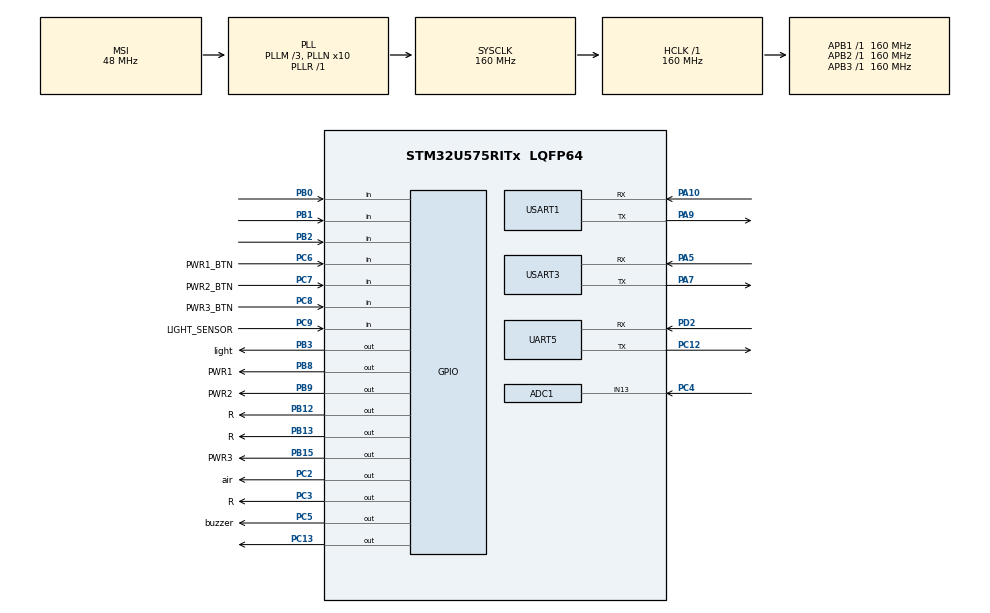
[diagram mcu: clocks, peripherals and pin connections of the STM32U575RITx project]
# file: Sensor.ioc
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ADC1.Channel-0\#ChannelRegularConversion=ADC_CHANNEL_13
ADC1.ContinuousConvMode=DISABLE
ADC1.EnableRegularConversion=ENABLE
ADC1.MonitoredBy-0\#ChannelRegularConversion=__NULL
ADC1.NbrOfConversion=1
ADC1.NbrOfConversionFlag=1
ADC1.OffsetNumber-0\#ChannelRegularConversion=ADC_OFFSET_NONE
ADC1.Rank-0\#ChannelRegularConversion=1
ADC1.SamplingTime-0\#ChannelRegularConversion=ADC_SAMPLETIME_391CYCLES_5
ADC1.master=1
CORTEX_M33_NS.userName=CORTEX_M33
Mcu.Family=STM32U5
Mcu.Name=STM32U575RITx
Mcu.Package=LQFP64
NVIC.PriorityGroup=NVIC_PRIORITYGROUP_4
NVIC.UART5_IRQn=true\:3\:0\:false\:false\:true\:true\:true\:true
NVIC.USART1_IRQn=true\:2\:0\:false\:false\:true\:true\:true\:true
NVIC.USART3_IRQn=true\:1\:0\:false\:false\:true\:true\:true\:true
PA10.Mode=Asynchronous
PA10.Signal=USART1_RX
PA5.Mode=Asynchronous
PA5.Signal=USART3_RX
PA7.Mode=Asynchronous
PA7.Signal=USART3_TX
PA9.Mode=Asynchronous
PA9.Signal=USART1_TX
PB0.Signal=GPIO_Input
PB1.GPIO_PuPd=GPIO_PULLUP
PB1.Signal=GPIO_Input
PB8.GPIO_Label=PWR1
PB8.PinState=GPIO_PIN_RESET
PB8.Signal=GPIO_Output
PB12.GPIO_Label=R
PB12.PinState=GPIO_PIN_RESET
PB12.Signal=GPIO_Output
PB13.GPIO_Label=R
PB13.PinState=GPIO_PIN_RESET
PB13.Signal=GPIO_Output
PB9.GPIO_Label=PWR2
PB9.PinState=GPIO_PIN_RESET
PB9.Signal=GPIO_Output
PB15.GPIO_Label=PWR3
PB15.PinState=GPIO_PIN_RESET
PB15.Signal=GPIO_Output
PB2.GPIO_PuPd=GPIO_PULLUP
PB2.Signal=GPIO_Input
PB3\ (JTDO/TRACESWO).GPIO_Label=light
PB3\ (JTDO/TRACESWO).PinState=GPIO_PIN_RESET
PB3\ (JTDO/TRACESWO).Signal=GPIO_Output
PC12.Mode=Asynchronous
PC12.Signal=UART5_TX
PC4.Mode=IN13-Single-Ended
PC4.Signal=ADC1_IN13
PC13.Signal=GPIO_Output
PC2.GPIO_Label=air
PC2.PinState=GPIO_PIN_RESET
PC2.Signal=GPIO_Output
PC3.GPIO_Label=R
PC3.PinState=GPIO_PIN_RESET
PC3.Signal=GPIO_Output
PC5.GPIO_Label=buzzer
PC5.PinState=GPIO_PIN_SET
PC5.Signal=GPIO_Output
PC9.GPIO_Label=LIGHT_SENSOR
PC9.GPIO_PuPd=GPIO_NOPULL
PC9.Signal=GPIO_Input
PC6.GPIO_Label=PWR1_BTN
PC6.GPIO_PuPd=GPIO_PULLUP
PC6.Signal=GPIO_Input
PC7.GPIO_Label=PWR2_BTN
PC7.GPIO_PuPd=GPIO_PULLUP
PC7.Signal=GPIO_Input
PC8.GPIO_Label=PWR3_BTN
PC8.GPIO_PuPd=GPIO_PULLUP
PC8.Signal=GPIO_Input
PD2.Mode=Asynchronous
PD2.Signal=UART5_RX
ProjectManager.HeapSize=0x200
ProjectManager.StackSize=0x400
ProjectManager.TargetToolchain=MDK-ARM V5.32
RCC.ADCFreq_Value=16000000
RCC.AHBFreq_Value=160000000
RCC.APB1Freq_Value=160000000
RCC.APB1TimFreq_Value=160000000
RCC.APB2Freq_Value=160000000
RCC.APB2TimFreq_Value=160000000
RCC.APB3Freq_Value=160000000
RCC.CortexFreq_Value=160000000
RCC.EPOD_VALUE=48000000
RCC.HCLKFreq_Value=160000000
RCC.HSE_VALUE=16000000
RCC.HSI48_VALUE=48000000
RCC.HSI_VALUE=16000000
RCC.LSE_VALUE=32768
RCC.LSIDIV_VALUE=32000
RCC.MSIClockRange=RCC_MSIRANGE_0
RCC.MSI_VALUE=48000000
RCC.PLL1R=1
RCC.PLLFRACN=0
RCC.PLLM=3
RCC.PLLN=10
RCC.SYSCLKFreq_VALUE=160000000
RCC.SYSCLKSource=RCC_SYSCLKSOURCE_PLLCLK
RCC.USBFreq_Value=48000000
RCC.VCOOutputFreq_Value=160000000
TIM2.PeriodNoDither=65535
TIM2.Prescaler=159
USART1.VirtualMode-Asynchronous=VM_ASYNC
USART3.VirtualMode-Asynchronous=VM_ASYNC
VP_LPBAMQUEUE_VS_QUEUE.Mode=QUEUEMODE
VP_LPBAM_VS_SIG1.Mode=SmartRun
VP_LPBAM_VS_SIG4.Mode=LPDMA1
VP_MEMORYMAP_VS_MEMORYMAP.Mode=CurAppReg
VP_PWR_VS_SECSignals.Mode=Security/Privilege
VP_PWR_Vdda.Mode=isolationVdda
VP_TIM2_VS_ClockSourceINT.Mode=Internal
board=custom

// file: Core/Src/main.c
/* USER CODE BEGIN Header */
/**
  ******************************************************************************
  * @file           : main.c
  * @brief          : Main program body
  ******************************************************************************
  * @attention
  *
  * Copyright (c) 2026 STMicroelectronics.
  * All rights reserved.
  *
  * This software is licensed under terms that can be found in the LICENSE file
  * in the root directory of this software component.
  * If no LICENSE file comes with this software, it is provided AS-IS.
  ******************************************************************************
  */
/* USER CODE END Header */
#include "main.h"
#include "adc.h"
#include "memorymap.h"
#include "tim.h"
#include "usart.h"
#include "gpio.h"

/* USER CODE BEGIN Includes */
#include "stdio.h"
#include "dht22.h"
#include "acs712.h"
#include "mq2.h"
#include "door.h"
#include "alarm.h"
#include "app_config.h"
#include "app_context.h"
#include "hmi_protocol.h"
#include "hmi.h"
#include "hmi_pages.h"
#include "logic_iot.h"
#include "sensor_sim.h"
#include "relay.h"
#include "load_buttons.h"
#include "bsp_esp8266.h"
#include "wifi_cmd.h"
#include "data_output.h"
#include "light.h"
/* USER CODE END Includes */

/* USER CODE BEGIN PD */
#define POWER_SAMPLE_INTERVAL_MS  20U

/* USER CODE END PD */

/* USER CODE BEGIN PV */
static uint32_t digital_sensor_tick;
static uint32_t dht22_task_tick;
static uint32_t power_task_tick;
static uint32_t system_task_tick;
static uint32_t hmi_refresh_tick;
static uint8_t hmi_refresh_page = 1U;
static uint32_t load_button_tick;
volatile uint8_t gRX_BufF[1];
extern volatile uint8_t TcpClosedFlag;
static uint32_t tcp_task_tick;
static uint8_t tcp_send_fail_count;
static uint8_t last_phone_link_state = 0xFFU;
/* USER CODE END PV */

void SystemClock_Config(void);

/* USER CODE BEGIN 0 */
/**************************关闭标准库下的半主机模式****************************/
__ASM (".global __use_no_semihosting");
struct FILE
{
  int handle;
};
FILE __stdout;
void _sys_exit(int x)
{
  x = x;
}
void _ttywrch(int ch)
{
  ch = ch;
}
/* USART1 is reserved for structured sample data. Suppress debug printf. */
int fputc(int ch, FILE *f)
{
  (void)f;
  return ch;
}
/* USER CODE END 0 */

int main(void)
{

  /* MCU Configuration--------------------------------------------------------*/

  /* Reset of all peripherals, Initializes the Flash interface and the Systick. */
  HAL_Init();

  /* Configure the system clock */
  SystemClock_Config();

  /* Initialize all configured peripherals */
  MX_GPIO_Init();
  MX_USART1_UART_Init();
  MX_TIM2_Init();
  MX_USART3_UART_Init();
  MX_UART5_Init();
  MX_ADC1_Init();
  /* USER CODE BEGIN 2 */
  AppContext_Init();
  AppConfig_Init();
  HAL_TIM_Base_Start(&htim2);
  Relay_Init();
  Alarm_Init();
  ACS712_Init();
  LoadButtons_Init();
  SensorSim_Init();
  HMI_Protocol_Init();
  HMI_Page0_UpdateOverview();
  HMI_Page1_UpdateAllDevices();
  ESP8266_Init(&huart5, (uint8_t*)gRX_BufF, 115200);
  ESP8266_ConnectStart();
  WiFiCmd_Init();
  /* USER CODE END 2 */

  /* Infinite loop */
  while (1)
  {

    /* USER CODE BEGIN 3 */
    HMI_Protocol_Task();
    HMI_Task();

    ESP8266_ConnectTask();
    if (ESP8266_IsConnected())
    {
      g_app_ctx.ble_online_count = 1U;
      g_app_ctx.human_present = 1U;
    }
    else
    {
      g_app_ctx.ble_online_count = 0U;
      g_app_ctx.human_present = 0U;
      g_app_ctx.phone_sync_ok = 0U;
    }
    if (g_app_ctx.ble_online_count != last_phone_link_state)
    {
      last_phone_link_state = g_app_ctx.ble_online_count;
      HMI_Page0_UpdatePhoneStatus();
      HMI_Page2_UpdateSafety();
    }
    if (ESP8266_IsConnected())
    {
      WiFiCmd_Task();
    }

    if ((HAL_GetTick() - digital_sensor_tick) >= 100U)
    {
      digital_sensor_tick = HAL_GetTick();
      MQ2_Task();
      Door_Task();
      Light_Task();
    }

    if ((HAL_GetTick() - load_button_tick) >= 10U)
    {
      load_button_tick = HAL_GetTick();
      LoadButtons_Task();
    }

    if ((HAL_GetTick() - power_task_tick) >= POWER_SAMPLE_INTERVAL_MS)
    {
      power_task_tick = HAL_GetTick();
      ACS712_Task();
      DataOutput_SendSample();
    }

    if ((HAL_GetTick() - dht22_task_tick) >= 2000U)
    {
      dht22_task_tick = HAL_GetTick();
      DHT22_Task();
    }

    if ((HAL_GetTick() - system_task_tick) >= 1000U)
    {
      system_task_tick = HAL_GetTick();
      SensorSim_Task();

      LogicIot_Task();

      Alarm_Task();
    }

    if ((HAL_GetTick() - hmi_refresh_tick) >= 250U)
    {
      hmi_refresh_tick = HAL_GetTick();
      /* The global waveform keeps receiving points while other pages are shown. */
      HMI_Page0_PowerTrendSample(1U);
      switch (hmi_refresh_page)
      {
        case 0U: HMI_Page0_UpdateOverview();   break;
        case 1U: HMI_Page1_UpdateAllDevices(); break;
        case 2U: HMI_Page2_UpdateSafety();     break;
        default: HMI_Page3_UpdateMode();       break;
      }
      hmi_refresh_page = (uint8_t)((hmi_refresh_page + 1U) & 0x03U);
    }

    if ((HAL_GetTick() - tcp_task_tick) >= 1000U)
    {
      tcp_task_tick = HAL_GetTick();
      if (ESP8266_IsConnected())
      {
        char tcp_str[256];
        sprintf(tcp_str, "{\"t\":%.1f,\"v\":%.2f,\"c\":%.3f,\"p\":%.1f,\"e\":%.4f,\"s\":%d,\"d\":%d,\"h\":%d,\"l\":%d,\"k\":%d,\"x\":%d,\"z\":%d,\"m\":%d,\"a\":%d,\"u\":%d}\r\n",
                g_app_ctx.temperature_c,
                g_app_ctx.voltage_v,
                g_app_ctx.current_a,
                g_app_ctx.power_w,
                g_app_ctx.energy_kwh,
                g_app_ctx.smoke_detected,
                g_app_ctx.door_unlocked,
                g_app_ctx.human_present,
                g_app_ctx.light_on,
                g_app_ctx.socket_on,
                g_app_ctx.ac_on,
                g_app_ctx.lock_unlocked,
                g_app_ctx.mode,
                g_app_ctx.alarm_active,
                g_app_ctx.ble_online_count);
        if (ESP8266_SendString(ENABLE, tcp_str, strlen(tcp_str), Single_ID_0))
        {
          uint8_t sync_changed = (g_app_ctx.phone_sync_ok == 0U) ? 1U : 0U;
          g_app_ctx.phone_sync_ok = 1U;
          tcp_send_fail_count = 0U;
          if (sync_changed != 0U)
          {
            HMI_Page0_UpdatePhoneStatus();
          }
        }
        else
        {
          uint8_t sync_changed = g_app_ctx.phone_sync_ok;
          g_app_ctx.phone_sync_ok = 0U;
          if (sync_changed != 0U)
          {
            HMI_Page0_UpdatePhoneStatus();
          }
          if (++tcp_send_fail_count >= 3U)
          {
            TcpClosedFlag = 1U;
          }
        }
      }
    }

    if (TcpClosedFlag)
    {
      printf("[INFO] TCP disconnected, reconnecting...\r\n");
      TcpClosedFlag = 0;
      g_app_ctx.ble_online_count = 0U;
      g_app_ctx.human_present = 0U;
      g_app_ctx.phone_sync_ok = 0U;
      tcp_send_fail_count = 0U;
      WiFiCmd_Init();
      ESP8266_ConnectStart();
    }

    HAL_Delay(1);
  }
  /* USER CODE END 3 */
}

void SystemClock_Config(void)
{
  RCC_OscInitTypeDef RCC_OscInitStruct = {0};
  RCC_ClkInitTypeDef RCC_ClkInitStruct = {0};

  /** Configure the main internal regulator output voltage
  */
  if (HAL_PWREx_ControlVoltageScaling(PWR_REGULATOR_VOLTAGE_SCALE1) != HAL_OK)
  {
    Error_Handler();
  }

  /** Initializes the CPU, AHB and APB buses clocks
  */
  RCC_OscInitStruct.OscillatorType = RCC_OSCILLATORTYPE_HSI|RCC_OSCILLATORTYPE_MSI;
  RCC_OscInitStruct.HSIState = RCC_HSI_ON;
  RCC_OscInitStruct.HSICalibrationValue = RCC_HSICALIBRATION_DEFAULT;
  RCC_OscInitStruct.MSIState = RCC_MSI_ON;
  RCC_OscInitStruct.MSICalibrationValue = RCC_MSICALIBRATION_DEFAULT;
  RCC_OscInitStruct.MSIClockRange = RCC_MSIRANGE_0;
  RCC_OscInitStruct.PLL.PLLState = RCC_PLL_ON;
  RCC_OscInitStruct.PLL.PLLSource = RCC_PLLSOURCE_MSI;
  RCC_OscInitStruct.PLL.PLLMBOOST = RCC_PLLMBOOST_DIV4;
  RCC_OscInitStruct.PLL.PLLM = 3;
  RCC_OscInitStruct.PLL.PLLN = 10;
  RCC_OscInitStruct.PLL.PLLP = 2;
  RCC_OscInitStruct.PLL.PLLQ = 2;
  RCC_OscInitStruct.PLL.PLLR = 1;
  RCC_OscInitStruct.PLL.PLLRGE = RCC_PLLVCIRANGE_1;
  RCC_OscInitStruct.PLL.PLLFRACN = 0;
  if (HAL_RCC_OscConfig(&RCC_OscInitStruct) != HAL_OK)
  {
    Error_Handler();
  }

  /** Initializes the CPU, AHB and APB buses clocks
  */
  RCC_ClkInitStruct.ClockType = RCC_CLOCKTYPE_HCLK|RCC_CLOCKTYPE_SYSCLK
                              |RCC_CLOCKTYPE_PCLK1|RCC_CLOCKTYPE_PCLK2
                              |RCC_CLOCKTYPE_PCLK3;
  RCC_ClkInitStruct.SYSCLKSource = RCC_SYSCLKSOURCE_PLLCLK;
  RCC_ClkInitStruct.AHBCLKDivider = RCC_SYSCLK_DIV1;
  RCC_ClkInitStruct.APB1CLKDivider = RCC_HCLK_DIV1;
  RCC_ClkInitStruct.APB2CLKDivider = RCC_HCLK_DIV1;
  RCC_ClkInitStruct.APB3CLKDivider = RCC_HCLK_DIV1;

  if (HAL_RCC_ClockConfig(&RCC_ClkInitStruct, FLASH_LATENCY_4) != HAL_OK)
  {
    Error_Handler();
  }
}

void Error_Handler(void)
{
  __disable_irq();
  while (1)
  {
  }
}
